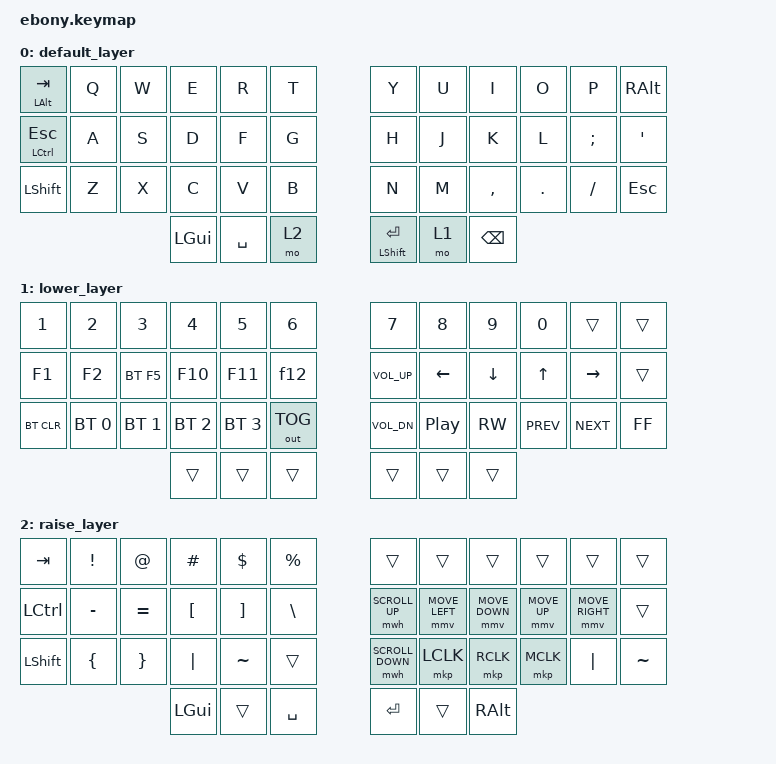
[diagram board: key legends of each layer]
/*
 * Copyright (c) 2020 The ZMK Contributors
 *
 * SPDX-License-Identifier: MIT
 */

#include <behaviors.dtsi>
#include <dt-bindings/zmk/keys.h>
#include <dt-bindings/zmk/bt.h>
#include <dt-bindings/zmk/outputs.h>
#include <dt-bindings/zmk/mouse.h>

&mt {
  quick-tap-ms = <175>;
  global-quick-tap;
  flavor = "tap-preferred";
  tapping-term-ms = <175>;
};
&lt {
    quick_tap_ms = <175>;
};

&mmv {
    time-to-max-speed-ms = <200>;
};

&mwh {
    acceleration-exponent=<1>;
};

/ {
        keymap {
                compatible = "zmk,keymap";

                default_layer {
                        bindings = <
//╭───────────────┬──────────────┬──────────────┬──────────────┬──────────────┬──────────────╮   ╭──────────────┬──────────────┬──────────────┬──────────────┬──────────────┬──────────────╮
//├───────────────┼──────────────┼──────────────┼──────────────┼──────────────┼──────────────┤   ├──────────────┼──────────────┼──────────────┼──────────────┼──────────────┼──────────────┤
//├───────────────┼──────────────┼──────────────┼──────────────┼──────────────┼──────────────┤   ├──────────────┼──────────────┼──────────────┼──────────────┼──────────────┼──────────────┤
//╰───────────────┴──────────────┼──────────────┴────┬─────────┴───────────┬──┴──────────────┤   ├──────────────┴────┬─────────┴───────┬──────┴──────────────┼──────────────┴──────────────╯
//                               ╰───────────────────┴─────────────────────┴─────────────────╯   ╰───────────────────┴─────────────────┴─────────────────────╯     
//╭───────────────┬──────────────┬──────────────┬──────────────┬──────────────┬──────────────╮   ╭──────────────┬──────────────┬──────────────┬──────────────┬──────────────┬──────────────╮
    &mt LALT TAB    &kp Q          &kp W          &kp E          &kp R          &kp T              &kp Y          &kp U          &kp I          &kp O          &kp P          &kp RALT
//├───────────────┼──────────────┼──────────────┼──────────────┼──────────────┼──────────────┤   ├──────────────┼──────────────┼──────────────┼──────────────┼──────────────┼──────────────┤
    &mt LCTRL ESC	&kp A          &kp S          &kp D          &kp F          &kp G              &kp H          &kp J          &kp K          &kp L          &kp SEMI       &kp SQT
//├───────────────┼──────────────┼──────────────┼──────────────┼──────────────┼──────────────┤   ├──────────────┼──────────────┼──────────────┼──────────────┼──────────────┼──────────────┤
    &kp LSHFT       &kp Z          &kp X          &kp C          &kp V          &kp B              &kp N          &kp M          &kp COMMA      &kp DOT        &kp FSLH       &kp ESC
//╰───────────────┴──────────────┼──────────────┴────┬─────────┴───────────┬──┴──────────────┤   ├──────────────┴────┬─────────┴───────┬──────┴──────────────┼──────────────┴──────────────╯
                                        &kp LGUI            &kp SPACE            &mo 2             &mt LSHIFT RET           &mo 1             &kp BSPC
//                               ╰───────────────────┴─────────────────────┴─────────────────╯   ╰───────────────────┴─────────────────┴─────────────────────╯     
                        >;
                };
                lower_layer {
                        bindings = <
//╭───────────────┬──────────────┬──────────────┬──────────────┬──────────────┬──────────────╮   ╭──────────────┬──────────────┬──────────────┬──────────────┬──────────────┬──────────────╮
    &kp N1          &kp N2         &kp N3         &kp N4         &kp N5         &kp N6             &kp N7         &kp N8         &kp N9         &kp N0         &trans         &trans 
//├───────────────┼──────────────┼──────────────┼──────────────┼──────────────┼──────────────┤   ├──────────────┼──────────────┼──────────────┼──────────────┼──────────────┼──────────────┤
    &kp F1	        &kp F2	       &bt F5         &kp F10        &kp F11        &kp f12            &kp C_VOL_UP   &kp LEFT       &kp DOWN       &kp UP         &kp RIGHT      &trans
//├───────────────┼──────────────┼──────────────┼──────────────┼──────────────┼──────────────┤   ├──────────────┼──────────────┼──────────────┼──────────────┼──────────────┼──────────────┤
    &bt BT_CLR      &bt BT_SEL 0   &bt BT_SEL 1   &bt BT_SEL 2   &bt BT_SEL 3   &out OUT_TOG       &kp C_VOL_DN   &kp C_PP       &kp C_RW       &kp C_PREV     &kp C_NEXT     &kp C_FF
//╰───────────────┴──────────────┼──────────────┴────┬─────────┴───────────┬──┴──────────────┤   ├──────────────┴────┬─────────┴───────┬──────┴──────────────┼──────────────┴──────────────╯
                                        &trans              &trans                &trans                &trans              &trans             &trans
//                               ╰───────────────────┴─────────────────────┴─────────────────╯   ╰───────────────────┴─────────────────┴─────────────────────╯     
                        >;
                };
				raise_layer {
                        bindings = <
//╭───────────────┬──────────────┬──────────────┬──────────────┬──────────────┬──────────────╮   ╭──────────────┬──────────────┬──────────────┬──────────────┬──────────────┬──────────────╮
    &kp TAB         &kp EXCL       &kp AT         &kp HASH       &kp DLLR       &kp PRCNT          &trans         &trans         &trans         &trans         &trans         &trans
//├───────────────┼──────────────┼──────────────┼──────────────┼──────────────┼──────────────┤   ├──────────────┼──────────────┼──────────────┼──────────────┼──────────────┼──────────────┤
    &kp LCTRL       &kp MINUS      &kp EQUAL      &kp LBKT       &kp RBKT       &kp BSLH          &mwh SCROLL_UP &mmv MOVE_LEFT &mmv MOVE_DOWN &mmv MOVE_UP   &mmv MOVE_RIGHT &trans
//├───────────────┼──────────────┼──────────────┼──────────────┼──────────────┼──────────────┤   ├──────────────┼──────────────┼──────────────┼──────────────┼──────────────┼──────────────┤
    &kp LSHFT       &kp LBRC       &kp RBRC       &kp PIPE       &kp TILDE      &trans           &mwh SCROLL_DOWN  &mkp LCLK      &mkp RCLK       &mkp MCLK    &kp PIPE       &kp TILDE
//╰───────────────┴──────────────┼──────────────┴────┬─────────┴───────────┬──┴──────────────┤   ├──────────────┴────┬─────────┴───────┬──────┴──────────────┼──────────────┴──────────────╯
                                        &kp LGUI              &trans            &kp SPACE                &kp RET            &trans             &kp RALT
//                               ╰───────────────────┴─────────────────────┴─────────────────╯   ╰───────────────────┴─────────────────┴─────────────────────╯     
                        >;
                };

        };
};
